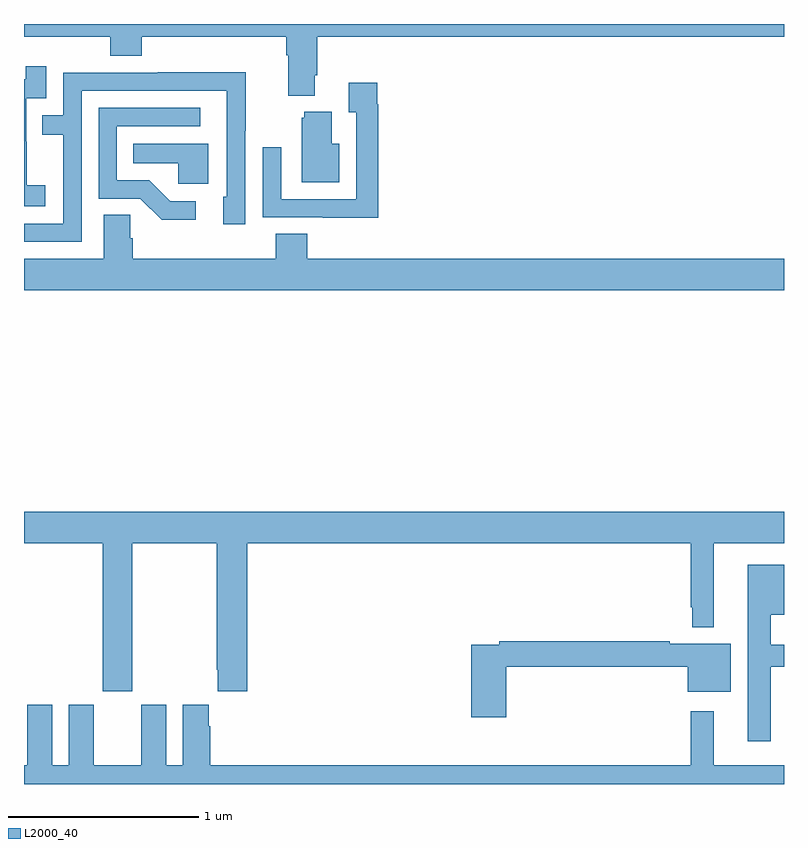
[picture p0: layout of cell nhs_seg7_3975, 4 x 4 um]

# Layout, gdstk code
import gdstk
lib = gdstk.Library(unit=1e-6, precision=1e-09)
def P(c, l, *ps):  # polygons
    for p in ps: c.add(gdstk.Polygon(p, *l))
L2000_40 = (2000, 40)

nhs_seg7_3975 = lib.new_cell('nhs_seg7_3975')
P(nhs_seg7_3975, L2000_40, [(364.531,1017.73),(364.544,1017.73),(364.544,1017.932),(367,1017.932),(367,1018),(363,1018),(363,1017.932),(363.455,1017.932),(363.455,1017.833),(363.62,1017.833),(363.62,1017.932),(364.379,1017.932),(364.379,1017.836),(364.391,1017.836),(364.391,1017.623),(364.531,1017.623)],
  [(363.112,1017.151),(363.014,1017.151),(363.014,1017.38),(363.012,1017.38),(363.012,1017.609),(363.117,1017.609),(363.117,1017.778),(363.009,1017.778),(363.009,1017.708),(363,1017.708),(363,1017.041),(363.112,1017.041)],
  [(363.303,1017.648),(364.067,1017.648),(364.067,1017.394),(364.068,1017.394),(364.068,1017.09),(364.049,1017.09),(364.049,1016.946),(364.164,1016.946),(364.164,1017.439),(364.167,1017.439),(364.167,1017.746),(363.703,1017.746),(363.703,1017.744),(363.207,1017.744),(363.207,1017.519),(363.097,1017.519),(363.097,1017.418),(363.207,1017.418),(363.207,1016.949),(363,1016.949),(363,1016.853),(363.303,1016.853)],
  [(364.865,1017.578),(364.858,1017.578),(364.858,1017.691),(364.709,1017.691),(364.709,1017.535),(364.749,1017.535),(364.749,1017.078),(364.353,1017.078),(364.353,1017.352),(364.257,1017.352),(364.257,1016.982),(364.573,1016.982),(364.573,1016.981),(364.865,1016.981)],
  [(363.904,1017.066),(363.769,1017.066),(363.658,1017.177),(363.489,1017.177),(363.489,1017.462),(363.928,1017.462),(363.928,1017.558),(363.393,1017.558),(363.393,1017.081),(363.612,1017.081),(363.725,1016.969),(363.904,1016.969)],
  [(364.66,1017.37),(364.621,1017.37),(364.621,1017.538),(364.475,1017.538),(364.475,1017.507),(364.463,1017.507),(364.463,1017.167),(364.66,1017.167)],
  [(363.97,1017.37),(363.574,1017.37),(363.574,1017.266),(363.813,1017.266),(363.813,1017.158),(363.97,1017.158)],
  [(367,1016.764),(364.49,1016.764),(364.49,1016.897),(364.325,1016.897),(364.325,1016.764),(363.572,1016.764),(363.572,1016.873),(363.558,1016.873),(363.558,1016.996),(363.419,1016.996),(363.419,1016.764),(363,1016.764),(363,1016.6),(367,1016.6)],
  [(363,1015.268),(363.415,1015.268),(363.415,1014.489),(363.57,1014.489),(363.57,1015.268),(364.015,1015.268),(364.015,1014.601),(364.019,1014.601),(364.019,1014.489),(364.175,1014.489),(364.175,1015.268),(366.51,1015.268),(366.51,1014.931),(366.516,1014.931),(366.516,1014.824),(366.631,1014.824),(366.631,1015.268),(367,1015.268),(367,1015.432),(363,1015.432)],
  [(366.931,1014.616),(367,1014.616),(367,1014.733),(366.931,1014.733),(366.931,1014.89),(367,1014.89),(367,1015.153),(366.809,1015.153),(366.809,1014.225),(366.931,1014.225)],
  [(365.537,1014.616),(366.494,1014.616),(366.494,1014.485),(366.721,1014.485),(366.721,1014.739),(366.398,1014.739),(366.398,1014.752),(365.5,1014.752),(365.5,1014.732),(365.354,1014.732),(365.354,1014.351),(365.537,1014.351)],
  [(367,1014.1),(366.631,1014.1),(366.631,1014.382),(366.51,1014.382),(366.51,1014.1),(363.98,1014.1),(363.98,1014.305),(363.973,1014.305),(363.973,1014.418),(363.836,1014.418),(363.836,1014.1),(363.748,1014.1),(363.748,1014.418),(363.617,1014.418),(363.617,1014.1),(363.367,1014.1),(363.367,1014.418),(363.236,1014.418),(363.236,1014.1),(363.148,1014.1),(363.148,1014.418),(363.017,1014.418),(363.017,1014.1),(363,1014.1),(363,1014),(367,1014)])

lib.write_gds('nhs_seg7_3975.gds')
